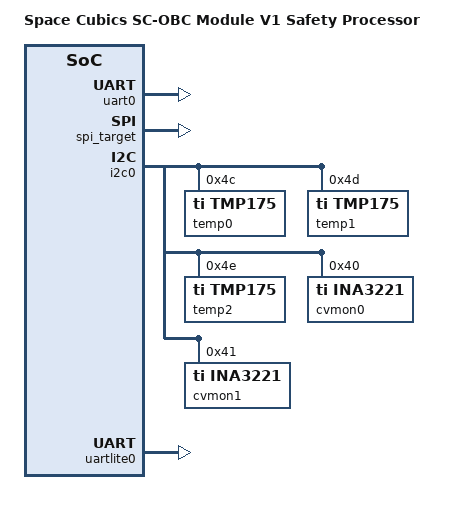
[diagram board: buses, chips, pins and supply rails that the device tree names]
/*
 * SC-OBC V1 Safety Processor QEMU hardware description
 *
 * Microchip IGLOO2 (M2GL090) with a Mi-V RV32IMC soft core running Zephyr.
 * Mirrors the Zephyr scobc_v1_miv board. Boot the firmware with e.g.:
 *
 *   qemu-system-riscv32 -M riscv-fdt -hw-dtb board-scobc-v1-sp-virt.dtb \
 *       -device loader,file=zephyr.elf,cpu-num=0 -nographic
 *
 * Space Cubics IP cores without a QEMU model yet are described as their
 * real compatible with an "unimplemented-device" fallback. Once a model
 * exists, it is picked up via the first compatible string instead.
 */

/dts-v1/;

/ {
	model = "Space Cubics SC-OBC Module V1 Safety Processor";
	compatible = "sc,scobc-v1-sp";
	#address-cells = <1>;
	#size-cells = <1>;

	cpus {
		#address-cells = <1>;
		#size-cells = <0>;

		sp_cpu: cpu@0 {
			device_type = "cpu";
			compatible = "microchip,miv", "rv32-riscv-cpu";
			reg = <0>;
			#interrupt-cells = <1>;

			/*
			 * RV32IMC_Zicsr_Zifencei, machine mode only. Disable
			 * everything the rv32 base CPU enables by default.
			 */
			a = <0>;
			f = <0>;
			d = <0>;
			s = <0>;
			u = <0>;
			h = <0>;
			mmu = <0>;
			zawrs = <0>;
			zfa = <0>;
			zba = <0>;
			zbb = <0>;
			zbc = <0>;
			zbs = <0>;
			zicbom = <0>;
			zicboz = <0>;
			zihintntl = <0>;
			zihintpause = <0>;
			zihpm = <0>;
			sstc = <0>;
			svadu = <0>;

			/* Execute in place from eNVM */
			resetvec = <0x60000000>;
		};
	};

	soc {
		compatible = "qemu:system-memory";
		#address-cells = <1>;
		#size-cells = <1>;

		/*
		 * Zephyr describes a 64 MiB PLIC window, which overlaps CoreUART
		 * and the machine timer. One hart with a single M-mode context
		 * only uses registers up to 0x201000, so limit it to 16 MiB.
		 */
		plic: interrupt-controller@10000000 {
			compatible = "sifive,plic-1.0.0", "riscv.sifive.plic";
			reg = <0x10000000 0x01000000>;
			interrupt-controller;
			#interrupt-cells = <2>;

			/* Single hart, machine mode context only */
			hart-config = "M";
			num-sources = <32>;
			num-priorities = <1>;
			priority-base = <0x0>;
			pending-base = <0x1000>;
			enable-base = <0x2000>;
			enable-stride = <0x80>;
			context-base = <0x200000>;
			context-stride = <0x1000>;
			aperture-size = <0x01000000>;

			/* Outputs: S-mode external (unused), M-mode external */
			interrupts-extended = <&sp_cpu 9>, <&sp_cpu 11>;
		};

		/* Zephyr console, polled. First serial port (serial0). */
		uart0: uart@11001000 {
			compatible = "microchip,coreuart";
			reg = <0x11001000 0x1000>;
		};

		/* SiFive CLINT layout: mtimecmp at +0x0, mtime at +0x7ff8 */
		mtimer: timer@12004000 {
			compatible = "riscv.aclint.mtimer";
			reg = <0x12004000 0x8000>;
			timebase-freq = <25000000>;
			interrupts-extended = <&sp_cpu 7>;
		};

		tcm0: memory@20000000 {
			compatible = "qemu:memory-region";
			reg = <0x20000000 0x20000>;
			qemu,ram = <1>;
		};

		/* eNVM0 and eNVM1 form one contiguous 512 KiB data window */
		envm: memory@60000000 {
			compatible = "qemu:memory-region";
			reg = <0x60000000 0x80000>;
			qemu,ram = <1>;
		};

		envm0_ctrl: flash-controller@60080000 {
			compatible = "microchip,igloo2-envm-controller",
				     "unimplemented-device";
			reg = <0x60080000 0x200>;
			qemu,name = "envm0-ctrl";
			qemu,size = <0x200>;
		};

		envm1_ctrl: flash-controller@600c0000 {
			compatible = "microchip,igloo2-envm-controller",
				     "unimplemented-device";
			reg = <0x600c0000 0x200>;
			qemu,name = "envm1-ctrl";
			qemu,size = <0x200>;
		};

		system_register: system-register@80000000 {
			compatible = "sc,system";
			reg = <0x80000000 0x1000>;

			/* IP v1.0.0, clean build, Revision B Developer Grade */
			sc,ip-version = <0x01000000>;
			sc,git-hash = <0x00000000>;
			sc,board-id = <0x3>;
		};

		spi_target: spi-target@81000000 {
			compatible = "sc,spi-target";
			reg = <0x81000000 0x1000>;
			interrupt-parent = <&plic>;
			interrupts = <16 1>;
		};

		mppc: mppc@81001000 {
			compatible = "sc,mppc", "unimplemented-device";
			reg = <0x81001000 0x1000>;
			qemu,name = "sc-mppc";
			qemu,size = <0x1000>;
		};

		i2c0: i2c@82000000 {
			compatible = "sc,i2c";
			reg = <0x82000000 0x10000>;
			interrupt-parent = <&plic>;
			interrupts = <20 1>;
			#address-cells = <1>;
			#size-cells = <0>;

			/* TMP175, register compatible with the TMP105 model */
			temp0: tmp175@4c {
				compatible = "ti,tmp175", "tmp105";
				reg = <0x4c>;
			};

			temp1: tmp175@4d {
				compatible = "ti,tmp175", "tmp105";
				reg = <0x4d>;
			};

			temp2: tmp175@4e {
				compatible = "ti,tmp175", "tmp105";
				reg = <0x4e>;
			};

			/*
			 * Inputs are chN-bus-mv and chN-shunt-uv, changeable at
			 * runtime with qom-set. Bus voltages are the nominal rails.
			 */
			cvmon0: ina3221@40 {
				/* CH1: 5V0_SYS, CH2: 5V0_VER_PS, CH3: 5V0_VER_PL */
				compatible = "ti,ina3221";
				reg = <0x40>;
				ti,ch1-bus-mv = <5000>;
				ti,ch2-bus-mv = <5000>;
				ti,ch3-bus-mv = <5000>;
			};

			cvmon1: ina3221@41 {
				/* CH1: 3V3_EXT, CH2: 3V3_VER, CH3: unused */
				compatible = "ti,ina3221";
				reg = <0x41>;
				ti,ch1-bus-mv = <3300>;
				ti,ch2-bus-mv = <3300>;
			};
		};

		/* Optional debug UART, disabled in the Zephyr board by default */
		uartlite0: serial@8f000000 {
			compatible = "xlnx,xps-uartlite-1.00.a";
			reg = <0x8f000000 0x10000>;
			interrupt-parent = <&plic>;
			interrupts = <17 1>;
		};
	};
};
